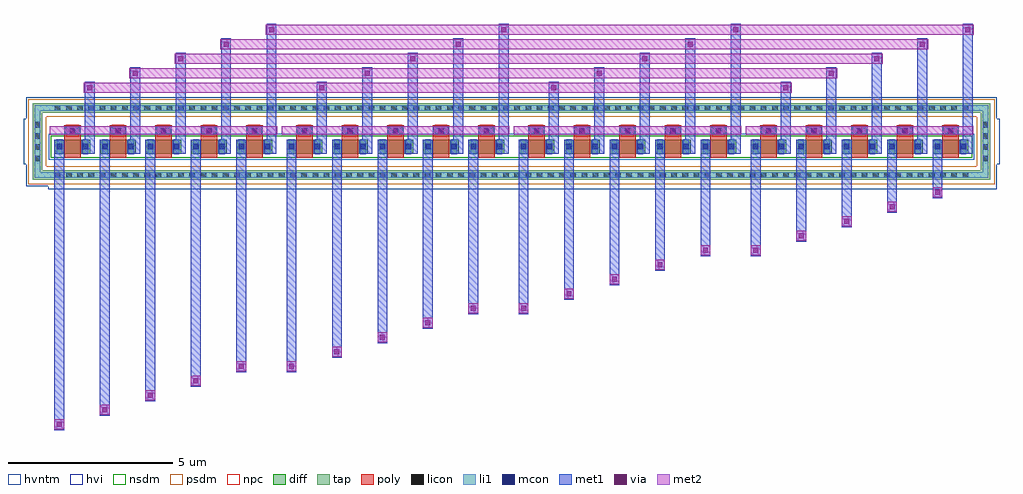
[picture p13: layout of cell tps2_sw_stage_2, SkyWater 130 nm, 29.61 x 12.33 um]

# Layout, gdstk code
import gdstk
lib = gdstk.Library(unit=1e-6, precision=1e-09)
def R(c, l, rs):  # rectangles x0, y0, x1, y1
    for r in rs: c.add(gdstk.rectangle(r[:2], r[2:], *l))
def A(c, l, x, y, w, h, nx, ny, dx, dy):  # array of equal rectangles
    R(c, l, [(x+i*dx, y+j*dy, x+i*dx+w, y+j*dy+h) for i in range(nx) for j in range(ny)])
diff = (65, 20)
tap = (65, 44)
poly = (66, 20)
licon = (66, 44)
li1 = (67, 20)
mcon = (67, 44)
met1 = (68, 20)
via = (68, 44)
met2 = (69, 20)
hvi = (75, 20)
nsdm = (93, 44)
psdm = (94, 20)
npc = (95, 20)
hvntm = (125, 20)

sky130_fd_pr__nfet_g5v0d = lib.new_cell('sky130_fd_pr__nfet_g5v0d10v5_NQHLCX')
R(sky130_fd_pr__nfet_g5v0d, diff, [(-0.54,-0.365,0.54,0.055)])
R(sky130_fd_pr__nfet_g5v0d, poly, [(-0.25,-0.495,0.25,0.495)])
R(sky130_fd_pr__nfet_g5v0d, licon, [(-0.48,-0.24,-0.31,-0.07), (0.31,-0.24,0.48,-0.07), (-0.085,0.245,0.085,0.415)])
R(sky130_fd_pr__nfet_g5v0d, li1, [(-0.48,-0.385,-0.31,0.075), (0.31,-0.385,0.48,0.075), (-0.25,0.245,0.25,0.415)])
R(sky130_fd_pr__nfet_g5v0d, mcon, [(-0.48,-0.24,-0.31,-0.07), (0.31,-0.24,0.48,-0.07), (-0.085,0.245,0.085,0.415)])
R(sky130_fd_pr__nfet_g5v0d, met1, [(-0.51,-0.365,-0.28,0.055), (0.28,-0.365,0.51,0.055), (-0.23,0.215,0.23,0.445)])
R(sky130_fd_pr__nfet_g5v0d, hvi, [(-0.725,-0.575,0.725,0.265)])
R(sky130_fd_pr__nfet_g5v0d, nsdm, [(-0.665,-0.49,0.665,0.18)])
R(sky130_fd_pr__nfet_g5v0d, npc, [(-0.185,0.145,0.185,0.515)])
R(sky130_fd_pr__nfet_g5v0d, hvntm, [(-0.725,-0.55,0.725,0.24)])

hnmos_1 = lib.new_cell('hnmos_1')
R(hnmos_1, met1, [(0.325,0.71,0.645,0.97)])
R(hnmos_1, via, [(0.41,0.765,0.56,0.915)])
R(hnmos_1, met2, [(-0.205,0.71,1.175,0.97)])
hnmos_1.add(gdstk.Reference(sky130_fd_pr__nfet_g5v0d, (0.485,0.51)))

hnmos_2 = lib.new_cell('hnmos_2')
R(hnmos_2, nsdm, [(1.335,0.01,1.385,0.68)])
hnmos_2.add(gdstk.Reference(hnmos_1, (1.565,-0.01)))
hnmos_2.add(gdstk.Reference(hnmos_1, (0.185,-0.01)))

hnmos_4 = lib.new_cell('hnmos_4')
R(hnmos_4, nsdm, [(2.695,0.005,2.745,0.675)])
hnmos_4.add(gdstk.Reference(hnmos_2, (2.74,-0.005)))
hnmos_4.add(gdstk.Reference(hnmos_2, (-0.02,-0.005)))

tps2_sw_stage_2 = lib.new_cell('tps2_sw_stage_2')
R(tps2_sw_stage_2, tap, [(-0.63,-0.65,28.43,-0.36), (-0.63,-0.36,-0.34,1.39), (28.14,-0.36,28.43,1.39), (-0.63,1.39,28.43,1.68)])
A(tps2_sw_stage_2, licon, 0.045, -0.59, 0.17, 0.17, 82, 2, 0.34, 2.04)
A(tps2_sw_stage_2, licon, -0.57, -0.08, 0.17, 0.17, 1, 4, 0, 0.34)
A(tps2_sw_stage_2, licon, 28.2, -0.08, 0.17, 0.17, 1, 4, 0, 0.34)
R(tps2_sw_stage_2, li1, [(-0.57,-0.59,28.37,-0.42), (-0.57,-0.42,-0.4,1.45), (28.2,-0.42,28.37,1.45), (-0.57,1.45,28.37,1.62)])
A(tps2_sw_stage_2, met1, 0.95, 0.15, 0.3, 2.175, 4, 1, 7.04, 0)
A(tps2_sw_stage_2, met1, 2.33, 0.15, 0.3, 2.615, 4, 1, 7.04, 0)
A(tps2_sw_stage_2, met1, 3.71, 0.15, 0.3, 3.055, 4, 1, 7.04, 0)
A(tps2_sw_stage_2, met1, 5.09, 0.15, 0.3, 3.495, 4, 1, 7.04, 0)
A(tps2_sw_stage_2, met1, 6.47, 0.15, 0.3, 3.935, 4, 1, 7.04, 0)
R(tps2_sw_stage_2, met1, [(0.035,-8.24,0.335,0.57), (1.415,-7.8,1.715,0.57), (2.795,-7.36,3.095,0.57), (4.175,-6.92,4.475,0.57), (5.555,-6.48,5.855,0.57), (7.075,-6.48,7.375,0.57), (8.455,-6.04,8.755,0.57), (9.835,-5.6,10.135,0.57), (11.215,-5.16,11.515,0.57), (12.595,-4.72,12.895,0.57), (14.115,-4.72,14.415,0.57), (15.495,-4.28,15.795,0.57), (16.875,-3.84,17.175,0.57), (18.255,-3.4,18.555,0.57), (19.635,-2.96,19.935,0.57), (21.155,-2.96,21.455,0.57), (22.535,-2.52,22.835,0.57), (23.915,-2.08,24.215,0.57), (25.295,-1.64,25.595,0.57), (26.675,-1.2,26.975,0.57)])
A(tps2_sw_stage_2, via, 1.025, 2.07, 0.15, 0.15, 4, 1, 7.04, 0)
A(tps2_sw_stage_2, via, 2.405, 2.51, 0.15, 0.15, 4, 1, 7.04, 0)
A(tps2_sw_stage_2, via, 3.785, 2.95, 0.15, 0.15, 4, 1, 7.04, 0)
A(tps2_sw_stage_2, via, 5.165, 3.39, 0.15, 0.15, 4, 1, 7.04, 0)
A(tps2_sw_stage_2, via, 6.545, 3.83, 0.15, 0.15, 4, 1, 7.04, 0)
R(tps2_sw_stage_2, via, [(0.11,-8.135,0.26,-7.985), (1.49,-7.695,1.64,-7.545), (2.87,-7.255,3.02,-7.105), (4.25,-6.815,4.4,-6.665), (5.63,-6.375,5.78,-6.225), (7.15,-6.375,7.3,-6.225), (8.53,-5.935,8.68,-5.785), (9.91,-5.495,10.06,-5.345), (11.29,-5.055,11.44,-4.905), (12.67,-4.615,12.82,-4.465), (14.19,-4.615,14.34,-4.465), (15.57,-4.175,15.72,-4.025), (16.95,-3.735,17.1,-3.585), (18.33,-3.295,18.48,-3.145), (19.71,-2.855,19.86,-2.705), (21.23,-2.855,21.38,-2.705), (22.61,-2.415,22.76,-2.265), (23.99,-1.975,24.14,-1.825), (25.37,-1.535,25.52,-1.385), (26.75,-1.095,26.9,-0.945)])
R(tps2_sw_stage_2, met2, [(0.035,-8.21,0.335,-7.91), (1.415,-7.77,1.715,-7.47), (2.795,-7.33,3.095,-7.03), (4.175,-6.89,4.475,-6.59), (5.555,-6.45,5.855,-6.15), (7.075,-6.45,7.375,-6.15), (8.455,-6.01,8.755,-5.71), (9.835,-5.57,10.135,-5.27), (11.215,-5.13,11.515,-4.83), (12.595,-4.69,12.895,-4.39), (14.115,-4.69,14.415,-4.39), (15.495,-4.25,15.795,-3.95), (16.875,-3.81,17.175,-3.51), (18.255,-3.37,18.555,-3.07), (19.635,-2.93,19.935,-2.63), (21.155,-2.93,21.455,-2.63), (22.535,-2.49,22.835,-2.19), (23.915,-2.05,24.215,-1.75), (25.295,-1.61,25.595,-1.31), (26.675,-1.17,26.975,-0.87), (0.92,1.995,22.4,2.295), (2.3,2.435,23.78,2.735), (3.68,2.875,25.16,3.175), (5.06,3.315,26.54,3.615), (6.44,3.755,27.92,4.055)])
A(tps2_sw_stage_2, hvi, 6.825, -0.06, 0.07, 0.84, 3, 1, 7.04, 0)
R(tps2_sw_stage_2, hvi, [(-0.155,-0.925,28.615,-0.835), (-0.815,-0.835,28.615,-0.175), (-0.905,-0.175,28.705,-0.06), (-0.905,-0.06,-0.065,0.78), (27.865,-0.06,28.705,0.78), (-0.905,0.78,28.705,1.205), (-0.815,1.205,28.615,1.865)])
A(tps2_sw_stage_2, nsdm, 5.385, 0.025, 0.05, 0.67, 4, 1, 7.04, 0)
A(tps2_sw_stage_2, nsdm, 6.765, 0.025, 0.19, 0.67, 3, 1, 7.04, 0)
R(tps2_sw_stage_2, psdm, [(-0.755,-0.775,28.555,-0.235), (-0.755,-0.235,-0.215,1.265), (28.015,-0.235,28.555,1.265), (-0.755,1.265,28.555,1.805)])
A(tps2_sw_stage_2, hvntm, 6.825, -0.035, 0.07, 0.79, 3, 1, 7.04, 0)
tps2_sw_stage_2.add(gdstk.Reference(hnmos_4, (21.05,0.02)))
tps2_sw_stage_2.add(gdstk.Reference(hnmos_4, (14.01,0.02)))
tps2_sw_stage_2.add(gdstk.Reference(hnmos_4, (6.97,0.02)))
tps2_sw_stage_2.add(gdstk.Reference(hnmos_4, (-0.07,0.02)))
tps2_sw_stage_2.add(gdstk.Reference(hnmos_1, (26.735,0.005)))
tps2_sw_stage_2.add(gdstk.Reference(hnmos_1, (19.695,0.005)))
tps2_sw_stage_2.add(gdstk.Reference(hnmos_1, (5.615,0.005)))
tps2_sw_stage_2.add(gdstk.Reference(hnmos_1, (12.655,0.005)))

lib.write_gds('tps2_sw_stage_2.gds')
